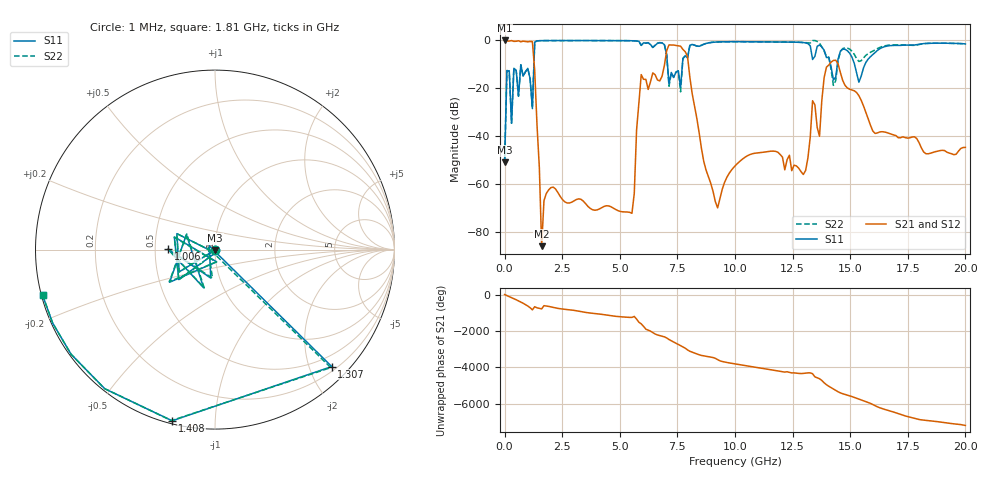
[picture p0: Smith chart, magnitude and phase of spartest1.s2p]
# GHz S RI R 50
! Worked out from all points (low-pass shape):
!   200 points, 1 MHz to 20 GHz, reference 50 ohm
!   highest |S21| = 0.00 dB at 1 MHz (marker M1); lowest = -85.8 dB at 1.609 GHz (marker M2)
!   |S21| within 3 dB of the highest: start of sweep to 1.228 GHz; 7.087 GHz to 7.684 GHz (596.8 MHz wide, 8.08 % of centre)
!   lowest |S11| = -50.8 dB at 1 MHz (marker M3), VSWR 1.01, Z = 50 - j0.29 ohm
!   |S11| at or under -10 dB: start of sweep to 1.274 GHz; 7.069 GHz to 7.718 GHz (649.3 MHz wide, 8.78 % of centre); 15.19 GHz to 15.64 GHz (455.3 MHz wide, 2.95 % of centre)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
!   |S22| runs from -50.8 to 0.0 dB; largest |S21 - S12| = 7e-13
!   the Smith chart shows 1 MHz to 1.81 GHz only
!   S11 on the Smith chart (normalised r, x): 1 MHz: 1.00, -0.01; 1.006 GHz: 0.59, +0.00; 1.307 GHz: 0.28, -2.38; 1.408 GHz: 0.01, -0.78; 1.81 GHz: 0.00, -0.13
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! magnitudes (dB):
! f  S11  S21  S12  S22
! 1 MHz  -50.8  0.0  0.0  -50.8
! 101.5 MHz  -12.6  -0.3  -0.3  -12.6
! 302.5 MHz  -34.5  -0.1  -0.1  -34.5
! 1.006 GHz  -11.7  -0.6  -0.6  -11.7
! 1.207 GHz  -28.4  -0.5  -0.5  -28.1
! 1.307 GHz  -0.7  -12.6  -12.6  -0.7
! 1.408 GHz  -0.1  -35.4  -35.4  -0.1
! 1.609 GHz  -0.1  -85.8  -85.8  -0.1
! 1.81 GHz  -0.1  -63.8  -63.8  -0.1
! 3.418 GHz  0.0  -67.0  -67.0  0.0
! 5.528 GHz  -0.1  -72.1  -72.1  -0.1
! 5.93 GHz  -2.0  -14.3  -14.3  -2.1
! 6.734 GHz  -0.9  -16.9  -16.9  -0.9
! 7.94 GHz  -7.2  -6.7  -6.7  -7.3
! 9.247 GHz  -0.6  -69.8  -69.8  -0.6
! 10.05 GHz  -0.5  -51.8  -51.8  -0.5
! 12.97 GHz  -0.9  -55.9  -55.9  -0.8
! 13.37 GHz  -7.9  -25.1  -25.1  0.0
! 13.67 GHz  -1.9  -40.0  -40.0  -1.1
! 14.37 GHz  -15.3  -8.2  -8.2  -16.8
! 16.68 GHz  -2.2  -38.8  -38.8  -2.0
! 20 GHz  -1.4  -44.6  -44.6  -1.4
